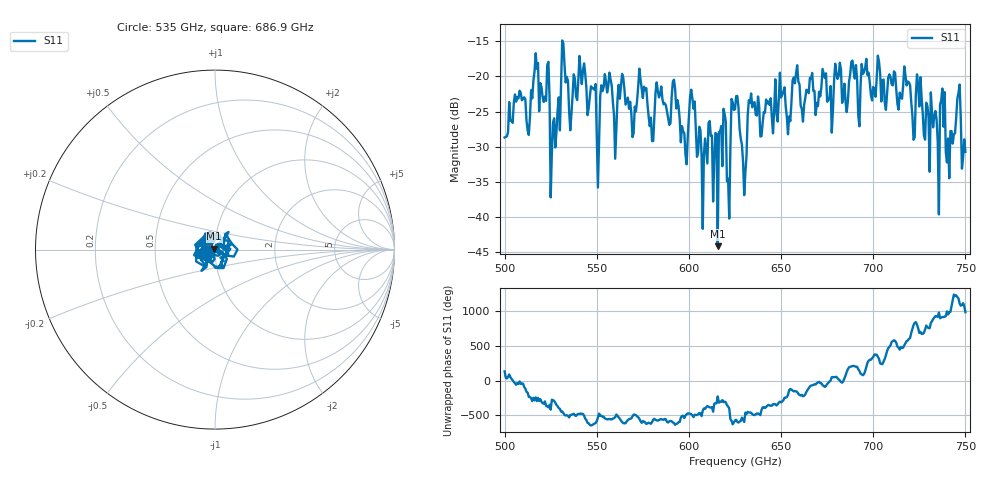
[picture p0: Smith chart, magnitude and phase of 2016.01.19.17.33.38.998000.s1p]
!Created with skrf (http://scikit-rf.org).
# GHz S RI R 50.0
!freq ReS11 ImS11
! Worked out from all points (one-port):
!   401 points, 500 GHz to 750 GHz, reference 50 ohm
!   lowest |S11| = -44.2 dB at 615.6 GHz (marker M1), VSWR 1.01, Z = 49.6 + j0.461 ohm
!   |S11| at or under -10 dB: start of sweep to end of sweep
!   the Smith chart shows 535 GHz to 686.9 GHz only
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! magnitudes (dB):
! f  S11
! 500 GHz  -28.7
! 513.1 GHz  -28.3
! 516.9 GHz  -16.7
! 523.1 GHz  -18.4
! 526.2 GHz  -26.6
! 531.2 GHz  -14.9
! 535.6 GHz  -27.7
! 541.9 GHz  -21.1
! 550.6 GHz  -35.8
! 553.8 GHz  -21.5
! 560 GHz  -31.7
! 562.5 GHz  -23.2
! 579.4 GHz  -25.9
! 593.8 GHz  -23.4
! 615.6 GHz  -44.2
! 618.8 GHz  -24.6
! 621.2 GHz  -34.6
! 625 GHz  -24.7
! 630 GHz  -36.9
! 633.8 GHz  -22.4
! 656.2 GHz  -20.5
! 687.5 GHz  -19.7
! 718.8 GHz  -20.7
! 734.4 GHz  -26.1
! 737.5 GHz  -21.7
! 740.6 GHz  -28.8
! 746.2 GHz  -22.4
! 750 GHz  -30.7
